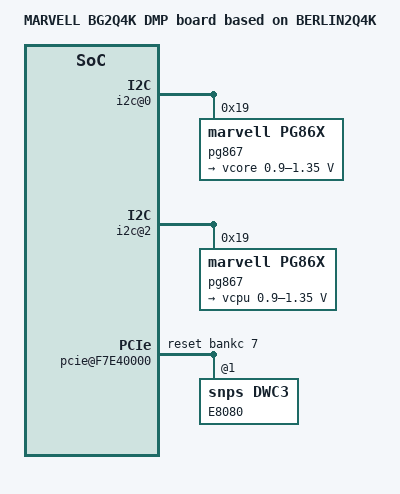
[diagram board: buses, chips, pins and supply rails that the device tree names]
/*
 * MARVELL BERLIN2Q4K DMP board device tree source
 *
 * Author:	Jisheng Zhang <jszhang@marvell.com>
 * Copyright (c) 2013 Marvell International Ltd.
 *		http://www.marvell.com
 *
 * This program is free software; you can redistribute it and/or modify
 * it under the terms of the GNU General Public License version 2 as
 * published by the Free Software Foundation.
*/

/dts-v1/;
/include/ "berlin2q4k.dtsi"

#define PCI_DEVFN(slot, func) ((((slot) & 0x1f) << 3) | ((func) & 0x07))

/ {
	model = "MARVELL BG2Q4K DMP board based on BERLIN2Q4K";
	compatible = "marvell,berlin2q4k-dmp", "marvell,berlin2q4k", "marvell,berlin";

	cpus {
		cpu@0 {
			cpu0-supply = <&vcpu>;
		};
	};

	soc {
		sdhci@F7AB0000 {
			marvell,txcfg = <0x802000b0>;
		};

		i2c@0 {
			pg867 {
				#address-cells = <1>;
				#size-cells = <0>;
				compatible = "marvell,pg86x";
				reg = <0x19>;
				BK1_TV {
					regulator-name = "vcore";
					regulator-min-microvolt = <900000>;
					regulator-max-microvolt = <1350000>;
					regulator-always-on;
					regulator-boot-on;
				};
			};
		};

		i2c@2 {
			pg867 {
				#address-cells = <1>;
				#size-cells = <0>;
				compatible = "marvell,pg86x";
				reg = <0x19>;
				vcpu:BK1_TV@0 {
					regulator-name = "vcpu";
					regulator-min-microvolt = <900000>;
					regulator-max-microvolt = <1350000>;
					regulator-always-on;
					regulator-boot-on;
				};
			};
		};

		pcie@F7E40000 {
			reset-gpio = <&bankc 7 0>;  /* PCIE_RST GPIO[71] */
			status = "okay";
			E8080@1 {
				compatible = "snps,dwc3";
				reg = <(PCI_DEVFN(0, 1) << 8) 0 0 0 0>;
				maximum-speed = "high-speed";
				dr_mode = "peripheral";
				status = "okay";
			};
		};
	};
};
